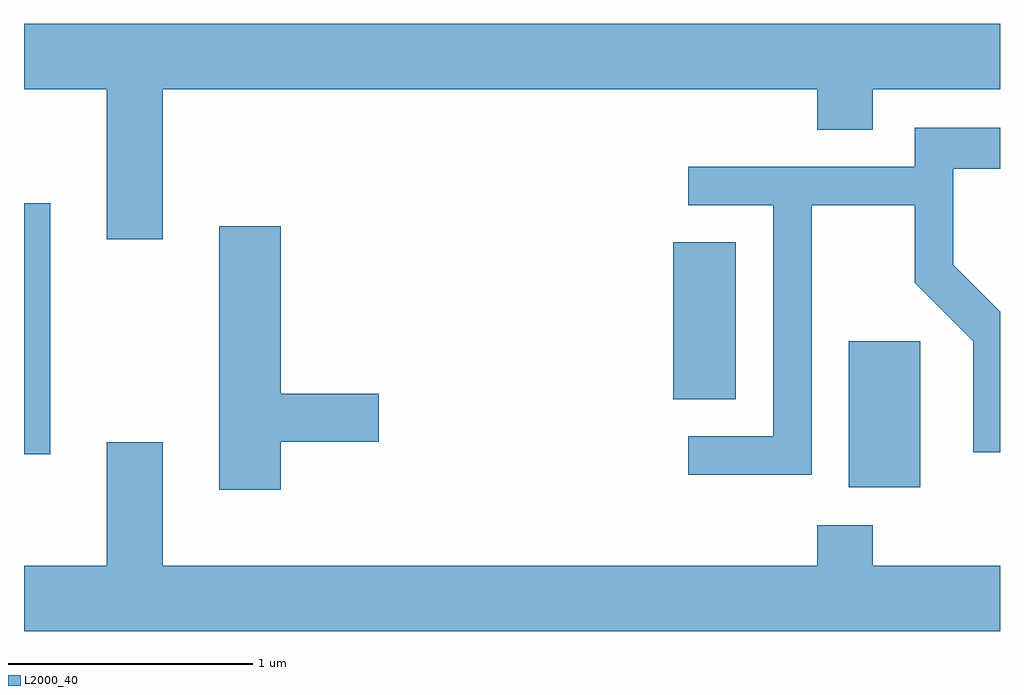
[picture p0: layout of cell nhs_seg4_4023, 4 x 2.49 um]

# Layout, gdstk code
import gdstk
lib = gdstk.Library(unit=1e-6, precision=1e-09)
def R(c, l, rs):  # rectangles x0, y0, x1, y1
    for r in rs: c.add(gdstk.rectangle(r[:2], r[2:], *l))
def P(c, l, *ps):  # polygons
    for p in ps: c.add(gdstk.Polygon(p, *l))
L2000_40 = (2000, 40)

nhs_seg4_4023 = lib.new_cell('nhs_seg4_4023')
R(nhs_seg4_4023, L2000_40, [(306.991,1277.566,307.284,1278.164), (303.611,1277.701,303.719,1278.729), (306.271,1277.926,306.529,1278.569)])
P(nhs_seg4_4023, L2000_40, [(304.179,1279.196),(306.861,1279.196),(306.861,1279.031),(307.089,1279.031),(307.089,1279.196),(307.611,1279.196),(307.611,1279.464),(303.611,1279.464),(303.611,1279.196),(303.951,1279.196),(303.951,1278.581),(304.179,1278.581)],
  [(306.839,1278.721),(307.261,1278.721),(307.261,1278.404),(307.501,1278.164),(307.501,1277.708),(307.611,1277.708),(307.611,1278.285),(307.419,1278.477),(307.419,1278.871),(307.611,1278.871),(307.611,1279.039),(307.261,1279.039),(307.261,1278.879),(306.333,1278.879),(306.333,1278.721),(306.681,1278.721),(306.681,1277.774),(306.333,1277.774),(306.333,1277.616),(306.839,1277.616)],
  [(304.664,1277.751),(305.064,1277.751),(305.064,1277.949),(304.664,1277.949),(304.664,1278.634),(304.411,1278.634),(304.411,1277.556),(304.664,1277.556)],
  [(307.611,1277.244),(307.089,1277.244),(307.089,1277.409),(306.861,1277.409),(306.861,1277.244),(304.179,1277.244),(304.179,1277.749),(303.951,1277.749),(303.951,1277.244),(303.611,1277.244),(303.611,1276.976),(307.611,1276.976)])

lib.write_gds('nhs_seg4_4023.gds')
